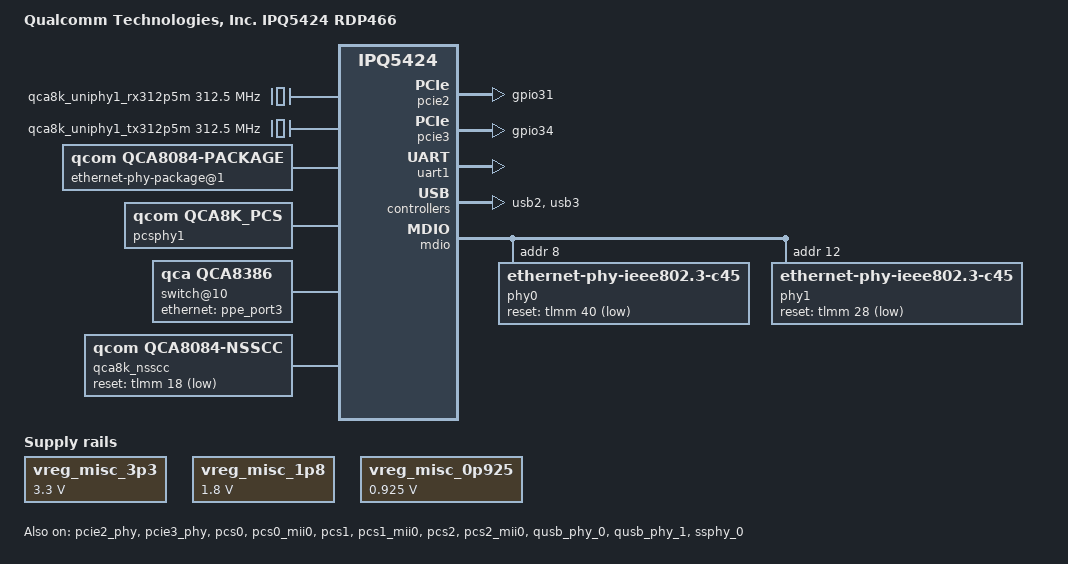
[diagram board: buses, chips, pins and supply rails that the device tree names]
// SPDX-License-Identifier: GPL-2.0+ OR BSD-3-Clause
/*
 * IPQ5424 RDP466 board device tree source
 *
 * Copyright (c) 2024-2025 The Linux Foundation. All rights reserved.
 */

/dts-v1/;

#include "ipq5424.dtsi"
#include <dt-bindings/clock/qcom,qca8k-nsscc.h>
#include <dt-bindings/net/qcom,qca808x.h>
#include <dt-bindings/reset/qcom,qca8k-nsscc.h>

/ {
	model = "Qualcomm Technologies, Inc. IPQ5424 RDP466";
	compatible = "qcom,ipq5424-rdp466", "qcom,ipq5424";

	aliases {
		serial0 = &uart1;
	};

	qca8k_uniphy1_rx312p5m: qca8k-uniphy1-rx312p5m {
		compatible = "fixed-clock";
		clock-frequency = <312500000>;
		#clock-cells = <0>;
	};

	qca8k_uniphy1_tx312p5m: qca8k-uniphy1-tx312p5m {
		compatible = "fixed-clock";
		clock-frequency = <312500000>;
		#clock-cells = <0>;
	};

	vreg_misc_3p3: regulator-usb-3p3 {
		compatible = "regulator-fixed";
		regulator-min-microvolt = <3300000>;
		regulator-max-microvolt = <3300000>;
		regulator-boot-on;
		regulator-always-on;
		regulator-name = "usb_hs_vdda_3p3";
	};

	vreg_misc_1p8: regulator-usb-1p8 {
		compatible = "regulator-fixed";
		regulator-min-microvolt = <1800000>;
		regulator-max-microvolt = <1800000>;
		regulator-boot-on;
		regulator-always-on;
		regulator-name = "vdda_1p8_usb";
	};

	vreg_misc_0p925: regulator-usb-0p925 {
		compatible = "regulator-fixed";
		regulator-min-microvolt = <925000>;
		regulator-max-microvolt = <925000>;
		regulator-boot-on;
		regulator-always-on;
		regulator-name = "vdd_core_usb";
	};

	ethernet-phy-package@1 {
		compatible = "qcom,qca8084-package";
		reg = <1>;
		#address-cells = <1>;
		#size-cells = <0>;
		clocks = <&qca8k_nsscc NSS_CC_APB_BRIDGE_CLK>,
			 <&qca8k_nsscc NSS_CC_AHB_CLK>,
			 <&qca8k_nsscc NSS_CC_SEC_CTRL_AHB_CLK>,
			 <&qca8k_nsscc NSS_CC_TLMM_CLK>,
			 <&qca8k_nsscc NSS_CC_TLMM_AHB_CLK>,
			 <&qca8k_nsscc NSS_CC_CNOC_AHB_CLK>,
			 <&qca8k_nsscc NSS_CC_MDIO_AHB_CLK>,
			 <&qca8k_nsscc NSS_CC_MDIO_MASTER_AHB_CLK>,
			 <&qca8k_nsscc NSS_CC_SWITCH_CORE_CLK>;
		clock-names = "apb_bridge",
			      "ahb",
			      "sec_ctrl_ahb",
			      "tlmm",
			      "tlmm_ahb",
			      "cnoc_ahb",
			      "mdio_ahb",
			      "mdio_master_ahb",
			      "switch_core";
		resets = <&qca8k_nsscc NSS_CC_GEPHY_FULL_ARES>;
		qcom,package-mode = <QCA808X_PCS1_SGMII_MAC_PCS0_SGMII_MAC>;
		qcom,phy-addr-fixup = <1 2 3 4 5 6 7>;

		dsa_phy0: ethernet-phy@1 {
			compatible = "ethernet-phy-id004d.d180";
			reg = <1>;
			clocks = <&qca8k_nsscc NSS_CC_GEPHY0_SYS_CLK>;
			resets = <&qca8k_nsscc NSS_CC_GEPHY0_SYS_ARES>;
		};

		dsa_phy1: ethernet-phy@2 {
			compatible = "ethernet-phy-id004d.d180";
			reg = <2>;
			clocks = <&qca8k_nsscc NSS_CC_GEPHY1_SYS_CLK>;
			resets = <&qca8k_nsscc NSS_CC_GEPHY1_SYS_ARES>;
		};

		dsa_phy2: ethernet-phy@3 {
			compatible = "ethernet-phy-id004d.d180";
			reg = <3>;
			clocks = <&qca8k_nsscc NSS_CC_GEPHY2_SYS_CLK>;
			resets = <&qca8k_nsscc NSS_CC_GEPHY2_SYS_ARES>;
		};

		dsa_phy3: ethernet-phy@4 {
			compatible = "ethernet-phy-id004d.d180";
			reg = <4>;
			clocks = <&qca8k_nsscc NSS_CC_GEPHY3_SYS_CLK>;
			resets = <&qca8k_nsscc NSS_CC_GEPHY3_SYS_ARES>;
		};
	};

	pcsphy1: pcsphy@6 {
		      compatible = "qcom,qca8k_pcs";
		      reg = <6>;
		      #clock-cells = <0x1>;

		      clocks = <&qca8k_nsscc NSS_CC_SRDS1_SYS_CLK>,
			       <&qca8k_nsscc NSS_CC_MAC0_RX_SRDS1_CLK>,
			       <&qca8k_nsscc NSS_CC_MAC0_TX_SRDS1_CLK>;
		      clock-names = "sys",
				    "rx",
				    "tx";
		      resets = <&qca8k_nsscc NSS_CC_SRDS1_SYS_ARES>,
			       <&qca8k_nsscc NSS_CC_MAC0_RX_SRDS1_ARES>,
			       <&qca8k_nsscc NSS_CC_MAC0_TX_SRDS1_ARES>;
		      reset-names = "sys",
				    "rx",
				    "tx";
		      clock-output-names = "qca8k_uniphy_rx",
					   "qca8k_uniphy_tx";
	      };

	switch@10 {
		compatible = "qca,qca8386";
		reg = <0x10>;
		clocks = <&qca8k_uniphy1_tx312p5m>;
		clock-names = "uniphy1_tx_312p5m_clk";

		ports {
			#address-cells = <1>;
			#size-cells = <0>;

			qca8k_cpu_port: port@0 {
				reg = <0>;
				phy-mode = "2500base-x";
				pcsphy-handle = <&pcsphy1>;
				ethernet = <&ppe_port3>;

				clocks = <&qca8k_nsscc NSS_CC_MAC0_RX_CLK>,
					 <&qca8k_nsscc NSS_CC_MAC0_TX_CLK>;
				clock-names = "port_rx_clk", "port_tx_clk";
				fixed-link {
					speed = <2500>;
					full-duplex;
					pause;
				};

			};

			port@1 {
				reg = <1>;
				label = "lan1";
				phy-mode = "sgmii";
				phy-handle = <&dsa_phy0>;

				clocks = <&qca8k_nsscc NSS_CC_MAC1_RX_CLK>,
					 <&qca8k_nsscc NSS_CC_MAC1_TX_CLK>,
					 <&qca8k_nsscc NSS_CC_MAC1_RX_CLK_SRC>,
					 <&qca8k_nsscc NSS_CC_MAC1_TX_CLK_SRC>,
					 <&qca8k_nsscc NSS_CC_MAC1_GEPHY0_RX_CLK>,
					 <&qca8k_nsscc NSS_CC_MAC1_GEPHY0_TX_CLK>;
				clock-names = "port_rx_clk", "port_tx_clk",
					      "port_rx_src_clk", "port_tx_src_clk",
					      "ephy_rx_clk", "ephy_tx_clk";

				resets = <&qca8k_nsscc NSS_CC_MAC1_GEPHY0_RX_ARES>,
					 <&qca8k_nsscc NSS_CC_MAC1_GEPHY0_TX_ARES>;
				reset-names = "ephy_rx_reset", "ephy_tx_reset";

			};

			port@2 {
				reg = <2>;
				label = "lan2";
				phy-mode = "sgmii";
				phy-handle = <&dsa_phy1>;

				clocks = <&qca8k_nsscc NSS_CC_MAC2_RX_CLK>,
					 <&qca8k_nsscc NSS_CC_MAC2_TX_CLK>,
					 <&qca8k_nsscc NSS_CC_MAC2_RX_CLK_SRC>,
					 <&qca8k_nsscc NSS_CC_MAC2_TX_CLK_SRC>,
					 <&qca8k_nsscc NSS_CC_MAC2_GEPHY1_RX_CLK>,
					 <&qca8k_nsscc NSS_CC_MAC2_GEPHY1_TX_CLK>;
				clock-names = "port_rx_clk", "port_tx_clk",
					      "port_rx_src_clk", "port_tx_src_clk",
					      "ephy_rx_clk", "ephy_tx_clk";

				resets = <&qca8k_nsscc NSS_CC_MAC2_GEPHY1_RX_ARES>,
					 <&qca8k_nsscc NSS_CC_MAC2_GEPHY1_TX_ARES>;
				reset-names = "ephy_rx_reset", "ephy_tx_reset";
			};

			port@3 {
				reg = <3>;
				label = "lan3";
				phy-mode = "sgmii";
				phy-handle = <&dsa_phy2>;

				clocks = <&qca8k_nsscc NSS_CC_MAC3_RX_CLK>,
					 <&qca8k_nsscc NSS_CC_MAC3_TX_CLK>,
					 <&qca8k_nsscc NSS_CC_MAC3_RX_CLK_SRC>,
					 <&qca8k_nsscc NSS_CC_MAC3_TX_CLK_SRC>,
					 <&qca8k_nsscc NSS_CC_MAC3_GEPHY2_RX_CLK>,
					 <&qca8k_nsscc NSS_CC_MAC3_GEPHY2_TX_CLK>;
				clock-names = "port_rx_clk", "port_tx_clk",
					      "port_rx_src_clk", "port_tx_src_clk",
					      "ephy_rx_clk", "ephy_tx_clk";

				resets = <&qca8k_nsscc NSS_CC_MAC3_GEPHY2_RX_ARES>,
					 <&qca8k_nsscc NSS_CC_MAC3_GEPHY2_TX_ARES>;
				reset-names = "ephy_rx_reset", "ephy_tx_reset";
			};

			port@4 {
				reg = <4>;
				label = "lan4";
				phy-mode = "sgmii";
				phy-handle = <&dsa_phy3>;

				clocks = <&qca8k_nsscc NSS_CC_MAC4_RX_CLK>,
					 <&qca8k_nsscc NSS_CC_MAC4_TX_CLK>,
					 <&qca8k_nsscc NSS_CC_MAC4_RX_CLK_SRC>,
					 <&qca8k_nsscc NSS_CC_MAC4_TX_CLK_SRC>,
					 <&qca8k_nsscc NSS_CC_MAC4_GEPHY3_RX_CLK>,
					 <&qca8k_nsscc NSS_CC_MAC4_GEPHY3_TX_CLK>;
				clock-names = "port_rx_clk", "port_tx_clk",
					      "port_rx_src_clk", "port_tx_src_clk",
					      "ephy_rx_clk", "ephy_tx_clk";

				resets = <&qca8k_nsscc NSS_CC_MAC4_GEPHY3_RX_ARES>,
					 <&qca8k_nsscc NSS_CC_MAC4_GEPHY3_TX_ARES>;
				reset-names = "ephy_rx_reset", "ephy_tx_reset";
			};
		};
	};

	qca8k_nsscc: qca8k-nsscc@18 {
		compatible = "qcom,qca8084-nsscc";
		reg = <0x18>;
		#clock-cells = <1>;
		#reset-cells = <1>;
		reset-gpios = <&tlmm 18 GPIO_ACTIVE_LOW>;
		clocks = <&cmn_pll IPQ5424_ETH2_50MHZ_CLK>,
			 <0>,
			 <0>,
			 <&pcsphy1 0>,
			 <&pcsphy1 1>,
			 <&qca8k_uniphy1_rx312p5m>,
			 <&qca8k_uniphy1_tx312p5m>;
		post-init-providers = <&pcsphy1>;
	};
};

&dwc_0 {
	dr_mode = "host";
};

&dwc_1 {
	dr_mode = "host";
};

&pcie2 {
	pinctrl-0 = <&pcie2_default_state>;
	pinctrl-names = "default";

	perst-gpios = <&tlmm 31 GPIO_ACTIVE_LOW>;

	status = "okay";
};

&pcie2_phy {
	status = "okay";
};

&pcie3 {
	pinctrl-0 = <&pcie3_default_state>;
	pinctrl-names = "default";

	perst-gpios = <&tlmm 34 GPIO_ACTIVE_LOW>;

	status = "okay";
};

&pcie3_phy {
	status = "okay";
};

&pcs0 {
	 status = "okay";
};

&pcs0_mii0 {
	clocks = <&nsscc NSS_CC_UNIPHY_PORT1_RX_CLK>,
		 <&nsscc NSS_CC_UNIPHY_PORT1_TX_CLK>;
	clock-names = "rx",
		      "tx";
	status = "okay";
};

&pcs1 {
	status = "okay";
};

&pcs1_mii0 {
	clocks = <&nsscc NSS_CC_UNIPHY_PORT2_RX_CLK>,
		 <&nsscc NSS_CC_UNIPHY_PORT2_TX_CLK>;
	clock-names = "rx",
		      "tx";
	status = "okay";
};

&pcs2 {
	status = "okay";
};

&pcs2_mii0 {
	clocks = <&nsscc NSS_CC_UNIPHY_PORT3_RX_CLK>,
		 <&nsscc NSS_CC_UNIPHY_PORT3_TX_CLK>;
	clock-names = "rx",
		      "tx";
	status = "okay";
};

&qcom_ppe {
	ethernet-ports {
		#address-cells = <1>;
		#size-cells = <0>;

		port@1 {
			reg = <1>;
			phy-mode = "usxgmii";
			managed = "in-band-status";
			phy-handle = <&phy0>;
			pcs-handle = <&pcs0_mii0>;
			clocks = <&nsscc NSS_CC_PORT1_MAC_CLK>,
				 <&nsscc NSS_CC_PORT1_RX_CLK>,
				 <&nsscc NSS_CC_PORT1_TX_CLK>;
			clock-names = "mac",
				      "rx",
				      "tx";
			resets = <&nsscc NSS_CC_PORT1_MAC_CLK_ARES>,
				 <&nsscc NSS_CC_PORT1_RX_CLK_ARES>,
				 <&nsscc NSS_CC_PORT1_TX_CLK_ARES>;
			reset-names = "mac",
				      "rx",
				      "tx";
		};

		port@2 {
			reg = <2>;
			phy-mode = "usxgmii";
			managed = "in-band-status";
			phy-handle = <&phy1>;
			pcs-handle = <&pcs1_mii0>;
			clocks = <&nsscc NSS_CC_PORT2_MAC_CLK>,
				 <&nsscc NSS_CC_PORT2_RX_CLK>,
				 <&nsscc NSS_CC_PORT2_TX_CLK>;
			clock-names = "mac",
				      "rx",
				      "tx";
			resets = <&nsscc NSS_CC_PORT2_MAC_CLK_ARES>,
				 <&nsscc NSS_CC_PORT2_RX_CLK_ARES>,
				 <&nsscc NSS_CC_PORT2_TX_CLK_ARES>;
			reset-names = "mac",
				      "rx",
				      "tx";
		};

		ppe_port3: port@3 {
			reg = <3>;
			phy-mode = "2500base-x";
			pcs-handle = <&pcs2_mii0>;
			clocks = <&nsscc NSS_CC_PORT3_MAC_CLK>,
				 <&nsscc NSS_CC_PORT3_RX_CLK>,
				 <&nsscc NSS_CC_PORT3_TX_CLK>;
			clock-names = "mac",
				      "rx",
				      "tx";
			resets = <&nsscc NSS_CC_PORT3_MAC_CLK_ARES>,
				 <&nsscc NSS_CC_PORT3_RX_CLK_ARES>,
				 <&nsscc NSS_CC_PORT3_TX_CLK_ARES>;
			reset-names = "mac",
				      "rx",
				      "tx";
			fixed-link {
				speed = <2500>;
				full-duplex;
				pause;
			};
		};
	};
};

&qusb_phy_0 {
	vdd-supply = <&vreg_misc_0p925>;
	vdda-pll-supply = <&vreg_misc_1p8>;
	vdda-phy-dpdm-supply = <&vreg_misc_3p3>;

	status = "okay";
};

&qusb_phy_1 {
	vdd-supply = <&vreg_misc_0p925>;
	vdda-pll-supply = <&vreg_misc_1p8>;
	vdda-phy-dpdm-supply = <&vreg_misc_3p3>;

	status = "okay";
};

&sleep_clk {
	clock-frequency = <32000>;
};

&ssphy_0 {
	vdda-pll-supply = <&vreg_misc_1p8>;
	vdda-phy-supply = <&vreg_misc_0p925>;

	status = "okay";
};

&tlmm {
	sdc_default_state: sdc-default-state {
		clk-pins {
			pins = "gpio5";
			function = "sdc_clk";
			drive-strength = <8>;
			bias-disable;
		};

		cmd-pins {
			pins = "gpio4";
			function = "sdc_cmd";
			drive-strength = <8>;
			bias-pull-up;
		};

		data-pins {
			pins = "gpio0", "gpio1", "gpio2", "gpio3";
			function = "sdc_data";
			drive-strength = <8>;
			bias-pull-up;
		};
	};

	pcie2_default_state: pcie2-default-state {
		pins = "gpio31";
		function = "gpio";
		drive-strength = <8>;
		bias-pull-up;
	};

	pcie3_default_state: pcie3-default-state {
		pins = "gpio34";
		function = "gpio";
		drive-strength = <8>;
		bias-pull-up;
	};
};

&uart1 {
	pinctrl-0 = <&uart1_pins>;
	pinctrl-names = "default";
	status = "okay";
};

&usb2 {
	status = "okay";
};

&usb3 {
	status = "okay";
};

&mdio {
	phy0: ethernet-phy@8 {
		compatible ="ethernet-phy-ieee802.3-c45";
		reg = <8>;
		reset-gpios = <&tlmm 40 GPIO_ACTIVE_LOW>;
		reset-assert-us = <100000>;
		reset-deassert-us = <100000>;
	};

	phy1: ethernet-phy@c {
		compatible ="ethernet-phy-ieee802.3-c45";
		reg = <0xc>;
		reset-gpios = <&tlmm 28 GPIO_ACTIVE_LOW>;
		reset-assert-us = <100000>;
		reset-deassert-us = <100000>;
	};
};

/*
 * The bootstrap pins for the board select the XO clock frequency that
 * supports 48 MHZ, 96 MHZ or 192 MHZ. This setting automatically
 * enables the right dividers, to ensure the reference clock output
 * from WiFi to the CMN PLL is 48 MHZ.
 */
&ref_48mhz_clk {
	clock-div = <1>;
	clock-mult = <1>;
};

/*
 * The frequency of xo_board is fixed to 24 MHZ, which is routed
 * from WiFi output clock 48 MHZ divided by 2.
 */
&xo_board {
	clock-div = <2>;
	clock-mult = <1>;
};

&xo_clk {
	clock-frequency = <48000000>;
};
